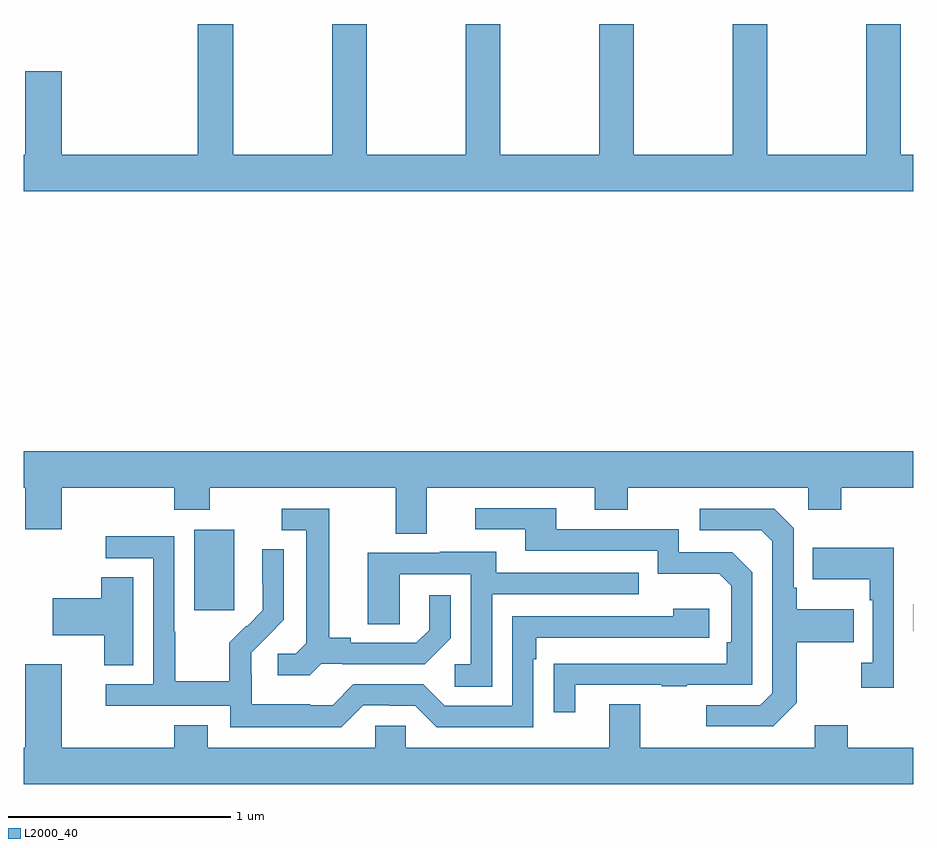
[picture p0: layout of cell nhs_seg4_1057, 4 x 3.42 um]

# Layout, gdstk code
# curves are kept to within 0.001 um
import gdstk
lib = gdstk.Library(unit=1e-6, precision=1e-09)
def R(c, l, rs):  # rectangles x0, y0, x1, y1
    for r in rs: c.add(gdstk.rectangle(r[:2], r[2:], *l))
def P(c, l, *ps):  # polygons
    for p in ps: c.add(gdstk.Polygon(p, *l))
L2000_40 = (2000, 40)

nhs_seg4_1057 = lib.new_cell('nhs_seg4_1057')
R(nhs_seg4_1057, L2000_40, [(168.999,800.171,169,800.293), (165.767,800.265,165.946,800.626)])
P(nhs_seg4_1057, L2000_40, [(168.187,802.312),(167.742,802.312),(167.742,802.9),(167.587,802.9),(167.587,802.312),(167.142,802.312),(167.142,802.9),(166.987,802.9),(166.987,802.312),(166.542,802.312),(166.542,802.9),(166.387,802.9),(166.387,802.312),(165.942,802.312),(165.942,802.9),(165.782,802.9),(165.782,802.312),(165.172,802.312),(165.172,802.687),(165.008,802.687),(165.008,802.312),(165,802.312),(165,802.148),(169,802.148),(169,802.312),(168.942,802.312),(168.942,802.9),(168.787,802.9),(168.787,802.312),(168.342,802.312),(168.342,802.9),(168.187,802.9)],
  [(166.813,800.816),(167.567,800.816),(167.567,800.717),(167.715,800.717),(167.715,800.816),(168.528,800.816),(168.528,800.717),(168.675,800.717),(168.675,800.816),(169,800.816),(169,800.98),(165,800.98),(165,800.816),(165.008,800.816),(165.008,800.628),(165.172,800.628),(165.172,800.816),(165.677,800.816),(165.677,800.717),(165.837,800.717),(165.837,800.816),(166.673,800.816),(166.673,800.608),(166.813,800.608)],
  [(167.479,799.929),(167.869,799.929),(167.869,799.924),(167.981,799.924),(167.981,799.929),(168.276,799.929),(168.276,800.436),(168.186,800.526),(167.946,800.526),(167.946,800.628),(167.395,800.628),(167.395,800.724),(167.031,800.724),(167.031,800.628),(167.255,800.628),(167.255,800.532),(167.85,800.532),(167.85,800.429),(168.127,800.429),(168.18,800.376),(168.18,800.122),(168.16,800.122),(168.16,800.025),(167.383,800.024),(167.383,799.806),(167.479,799.806)],
  [(166.338,800.025),(166.432,800.025),(166.432,800.022),(166.804,800.022),(166.92,800.138),(166.92,800.332),(166.823,800.332),(166.823,800.175),(166.766,800.118),(166.471,800.118),(166.471,800.141),(166.375,800.141),(166.375,800.721),(166.161,800.721),(166.161,800.625),(166.271,800.625),(166.271,800.117),(166.224,800.07),(166.143,800.07),(166.143,799.973),(166.286,799.973)],
  [(168.475,799.849),(168.475,800.122),(168.731,800.122),(168.731,800.269),(168.475,800.269),(168.475,800.365),(168.462,800.365),(168.462,800.634),(168.375,800.721),(168.039,800.721),(168.039,800.625),(168.315,800.625),(168.366,800.574),(168.366,799.893),(168.312,799.839),(168.069,799.839),(168.069,799.743),(168.369,799.743)],
  [(166.527,799.839),(166.643,799.839),(166.643,799.836),(166.761,799.836),(166.857,799.74),(167.292,799.74),(167.292,800.045),(167.305,800.045),(167.305,800.142),(168.082,800.142),(168.082,800.272),(167.921,800.272),(167.921,800.238),(167.196,800.238),(167.196,799.836),(166.893,799.836),(166.797,799.932),(166.482,799.932),(166.389,799.839),(166.289,799.839),(166.289,799.843),(166.026,799.843),(166.026,799.977),(166.024,799.977),(166.024,800.074),(166.17,800.222),(166.17,800.54),(166.074,800.54),(166.074,800.386),(166.076,800.386),(166.076,800.264),(166.005,800.193),(166.002,800.196),(165.925,800.119),(165.925,799.945),(165.681,799.945),(165.681,800.168),(165.678,800.168),(165.678,800.598),(165.369,800.598),(165.369,800.499),(165.582,800.499),(165.582,799.932),(165.369,799.932),(165.369,799.836),(165.93,799.836),(165.93,799.739),(166.427,799.739)],
  [(168.912,800.545),(168.547,800.545),(168.547,800.405),(168.804,800.405),(168.804,800.309),(168.816,800.309),(168.816,800.03),(168.765,800.03),(168.765,799.917),(168.912,799.917)],
  [(167.106,800.337),(167.765,800.337),(167.765,800.433),(167.125,800.433),(167.125,800.527),(166.871,800.527),(166.871,800.523),(166.547,800.523),(166.547,800.203),(166.692,800.203),(166.692,800.427),(167.01,800.427),(167.01,800.022),(166.938,800.022),(166.938,799.921),(167.106,799.921)],
  [(165.493,800.414),(165.35,800.414),(165.35,800.319),(165.132,800.319),(165.132,800.153),(165.362,800.153),(165.362,800.017),(165.493,800.017)],
  [(169,799.648),(168.705,799.648),(168.705,799.747),(168.557,799.747),(168.557,799.648),(167.773,799.648),(167.773,799.843),(167.633,799.843),(167.633,799.648),(166.719,799.648),(166.719,799.746),(166.581,799.746),(166.581,799.648),(165.829,799.648),(165.829,799.747),(165.677,799.747),(165.677,799.648),(165.172,799.648),(165.172,800.023),(165.008,800.023),(165.008,799.648),(165,799.648),(165,799.484),(169,799.484)])

lib.write_gds('nhs_seg4_1057.gds')
